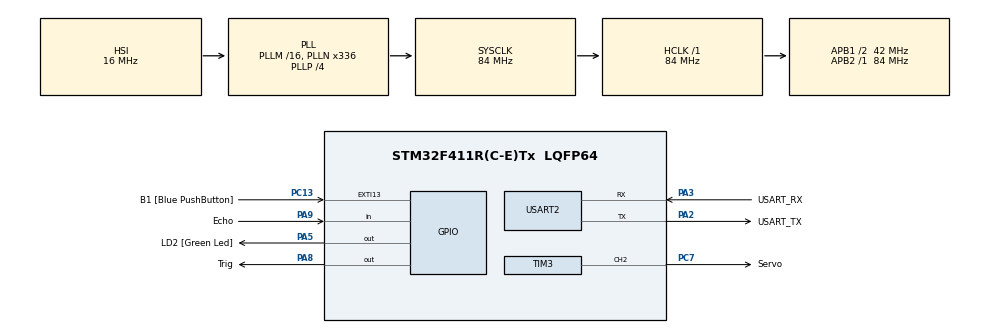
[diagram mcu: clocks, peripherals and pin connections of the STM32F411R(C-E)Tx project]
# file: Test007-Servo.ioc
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Mcu.Family=STM32F4
Mcu.Name=STM32F411R(C-E)Tx
Mcu.Package=LQFP64
NVIC.PriorityGroup=NVIC_PRIORITYGROUP_0
PA13.GPIO_Label=TMS
PA13.Mode=Serial_Wire
PA13.Signal=SYS_JTMS-SWDIO
PA14.GPIO_Label=TCK
PA14.Mode=Serial_Wire
PA14.Signal=SYS_JTCK-SWCLK
PA2.GPIO_Label=USART_TX
PA2.Mode=Asynchronous
PA2.Signal=USART2_TX
PA3.GPIO_Label=USART_RX
PA3.Mode=Asynchronous
PA3.Signal=USART2_RX
PA5.GPIO_Label=LD2 [Green Led]
PA5.Signal=GPIO_Output
PA8.GPIO_Label=Trig
PA8.Signal=GPIO_Output
PA9.GPIO_Label=Echo
PA9.Signal=GPIO_Input
PB3.GPIO_Label=SWO
PB3.Signal=SYS_JTDO-SWO
PC13-ANTI_TAMP.GPIO_Label=B1 [Blue PushButton]
PC13-ANTI_TAMP.GPIO_ModeDefaultEXTI=GPIO_MODE_IT_FALLING
PC13-ANTI_TAMP.Signal=GPXTI13
PC14-OSC32_IN.Mode=LSE-External-Oscillator
PC14-OSC32_IN.Signal=RCC_OSC32_IN
PC15-OSC32_OUT.Mode=LSE-External-Oscillator
PC15-OSC32_OUT.Signal=RCC_OSC32_OUT
PC7.GPIO_Label=Servo
PC7.Signal=S_TIM3_CH2
PH0\ -\ OSC_IN.Mode=HSE-External-Clock-Source
PH0\ -\ OSC_IN.Signal=RCC_OSC_IN
PH1\ -\ OSC_OUT.Mode=HSE-External-Clock-Source
PH1\ -\ OSC_OUT.Signal=RCC_OSC_OUT
ProjectManager.HeapSize=0x200
ProjectManager.StackSize=0x400
ProjectManager.TargetToolchain=STM32CubeIDE
RCC.48MHZClocksFreq_Value=84000000
RCC.AHBFreq_Value=84000000
RCC.APB1CLKDivider=RCC_HCLK_DIV2
RCC.APB1Freq_Value=42000000
RCC.APB1TimFreq_Value=84000000
RCC.APB2Freq_Value=84000000
RCC.APB2TimFreq_Value=84000000
RCC.CortexFreq_Value=84000000
RCC.FLatency-AdvancedSettings=FLASH_LATENCY_2
RCC.HCLKFreq_Value=84000000
RCC.HSE_VALUE=8000000
RCC.HSI_VALUE=16000000
RCC.PLLN=336
RCC.PLLP=RCC_PLLP_DIV4
RCC.SYSCLKFreq_VALUE=84000000
RCC.SYSCLKSource=RCC_SYSCLKSOURCE_PLLCLK
RCC.VCOOutputFreq_Value=336000000
SH.S_TIM3_CH2.0=TIM3_CH2,PWM Generation2 CH2
TIM2.Prescaler=84-1
TIM3.Channel-PWM\ Generation2\ CH2=TIM_CHANNEL_2
TIM3.Period=20000-1
TIM3.Prescaler=84-1
TIM3.Pulse-PWM\ Generation2\ CH2=50
USART2.VirtualMode=VM_ASYNC
VP_TIM2_VS_ClockSourceINT.Mode=Internal
VP_TIM3_VS_ClockSourceINT.Mode=Internal
board=NUCLEO-F411RE

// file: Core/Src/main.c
/* USER CODE BEGIN Header */
/**
  ******************************************************************************
  * @file           : main.c
  * @brief          : Main program body
  ******************************************************************************
  * @attention
  *
  * Copyright (c) 2025 STMicroelectronics.
  * All rights reserved.
  *
  * This software is licensed under terms that can be found in the LICENSE file
  * in the root directory of this software component.
  * If no LICENSE file comes with this software, it is provided AS-IS.
  *
  ******************************************************************************
  */
/* USER CODE END Header */
#include "main.h"

TIM_HandleTypeDef htim2;
TIM_HandleTypeDef htim3;

UART_HandleTypeDef huart2;

void SystemClock_Config(void);
static void MX_GPIO_Init(void);
static void MX_USART2_UART_Init(void);
static void MX_TIM3_Init(void);
static void MX_TIM2_Init(void);

/* USER CODE BEGIN 0 */
void microDelay(int us)	// us : micro second
{
    htim2.Instance->CNT = 0;
    //int t1 = htim2.Instance->CNT; //save the initial time
    while((htim2.Instance->CNT < us));	//while until (time now - initial time) == us
}

void Trigger ()
{
  HAL_GPIO_WritePin(Trig_GPIO_Port, Trig_Pin, 0);
  microDelay(10);
  HAL_GPIO_WritePin(Trig_GPIO_Port, Trig_Pin, 1);
  microDelay(10);
  HAL_GPIO_WritePin(Trig_GPIO_Port, Trig_Pin, 0);
}

double Distance()
{
  int t1, t2;
  htim2.Instance->CNT = 0;

  Trigger();
  //wait until Echo High
  while( HAL_GPIO_ReadPin(Echo_GPIO_Port, Echo_Pin) == 0 )
    {
	if(htim2.Instance->CNT >30000) return -1;		//Time Out
    }
  t1 = htim2.Instance->CNT;
  while( HAL_GPIO_ReadPin(Echo_GPIO_Port, Echo_Pin) == 1);
    {
	if((htim2.Instance->CNT - t1) >60000) return -1; 	//Time Out
    }
  t2 = htim2.Instance->CNT;

  return 0.34 * ((t2 - t1)/2); //unit : us
}
/* USER CODE END 0 */

int main(void)
{

  /* MCU Configuration--------------------------------------------------------*/

  /* Reset of all peripherals, Initializes the Flash interface and the Systick. */
  HAL_Init();

  /* Configure the system clock */
  SystemClock_Config();

  /* Initialize all configured peripherals */
  MX_GPIO_Init();
  MX_USART2_UART_Init();
  MX_TIM3_Init();
  MX_TIM2_Init();
  /* USER CODE BEGIN 2 */

  ProgramStart("Motor Control - Servo");
  HAL_TIM_PWM_Start(&htim3, TIM_CHANNEL_2);
  HAL_TIM_Base_Start(&htim2);

  /* USER CODE END 2 */

  /* Infinite loop */
  /* USER CODE BEGIN WHILE */
  int cval = 23, dr = 1	;
  while (1)
  {
//      cval += dr;
//      if(cval > 180 || cval < 10) dr *= -1;
      double distance = Distance();
      printf("Disatance : %f\r\n", distance);
      HAL_Delay(30);
      if(distance < 100)
	{
	  htim3.Instance->CCR2 = 2500;
	}
      else
	{
	  htim3.Instance->CCR2 = 500;
	}
      //printf("Angle : "); scanf("%d", &cval);
      //htim3.Instance->CCR2 = cval;	// 0 ~ 1000
//      if (htim3.Instance->CCR2 > 100)  htim3.Instance->CCR2 = 50;
     // printf("Angle : %d\r\n", cval);
      HAL_Delay(20);
    /* USER CODE END WHILE */

  }
}

void SystemClock_Config(void)
{
  RCC_OscInitTypeDef RCC_OscInitStruct = {0};
  RCC_ClkInitTypeDef RCC_ClkInitStruct = {0};

  /** Configure the main internal regulator output voltage
  */
  __HAL_RCC_PWR_CLK_ENABLE();
  __HAL_PWR_VOLTAGESCALING_CONFIG(PWR_REGULATOR_VOLTAGE_SCALE1);

  /** Initializes the RCC Oscillators according to the specified parameters
  * in the RCC_OscInitTypeDef structure.
  */
  RCC_OscInitStruct.OscillatorType = RCC_OSCILLATORTYPE_HSI;
  RCC_OscInitStruct.HSIState = RCC_HSI_ON;
  RCC_OscInitStruct.HSICalibrationValue = RCC_HSICALIBRATION_DEFAULT;
  RCC_OscInitStruct.PLL.PLLState = RCC_PLL_ON;
  RCC_OscInitStruct.PLL.PLLSource = RCC_PLLSOURCE_HSI;
  RCC_OscInitStruct.PLL.PLLM = 16;
  RCC_OscInitStruct.PLL.PLLN = 336;
  RCC_OscInitStruct.PLL.PLLP = RCC_PLLP_DIV4;
  RCC_OscInitStruct.PLL.PLLQ = 4;
  if (HAL_RCC_OscConfig(&RCC_OscInitStruct) != HAL_OK)
  {
    Error_Handler();
  }

  /** Initializes the CPU, AHB and APB buses clocks
  */
  RCC_ClkInitStruct.ClockType = RCC_CLOCKTYPE_HCLK|RCC_CLOCKTYPE_SYSCLK
                              |RCC_CLOCKTYPE_PCLK1|RCC_CLOCKTYPE_PCLK2;
  RCC_ClkInitStruct.SYSCLKSource = RCC_SYSCLKSOURCE_PLLCLK;
  RCC_ClkInitStruct.AHBCLKDivider = RCC_SYSCLK_DIV1;
  RCC_ClkInitStruct.APB1CLKDivider = RCC_HCLK_DIV2;
  RCC_ClkInitStruct.APB2CLKDivider = RCC_HCLK_DIV1;

  if (HAL_RCC_ClockConfig(&RCC_ClkInitStruct, FLASH_LATENCY_2) != HAL_OK)
  {
    Error_Handler();
  }
}

static void MX_TIM2_Init(void)
{

  TIM_ClockConfigTypeDef sClockSourceConfig = {0};
  TIM_MasterConfigTypeDef sMasterConfig = {0};

  htim2.Instance = TIM2;
  htim2.Init.Prescaler = 84-1;
  htim2.Init.CounterMode = TIM_COUNTERMODE_UP;
  htim2.Init.Period = 4294967295;
  htim2.Init.ClockDivision = TIM_CLOCKDIVISION_DIV1;
  htim2.Init.AutoReloadPreload = TIM_AUTORELOAD_PRELOAD_DISABLE;
  if (HAL_TIM_Base_Init(&htim2) != HAL_OK)
  {
    Error_Handler();
  }
  sClockSourceConfig.ClockSource = TIM_CLOCKSOURCE_INTERNAL;
  if (HAL_TIM_ConfigClockSource(&htim2, &sClockSourceConfig) != HAL_OK)
  {
    Error_Handler();
  }
  sMasterConfig.MasterOutputTrigger = TIM_TRGO_RESET;
  sMasterConfig.MasterSlaveMode = TIM_MASTERSLAVEMODE_DISABLE;
  if (HAL_TIMEx_MasterConfigSynchronization(&htim2, &sMasterConfig) != HAL_OK)
  {
    Error_Handler();
  }

}

static void MX_TIM3_Init(void)
{

  TIM_ClockConfigTypeDef sClockSourceConfig = {0};
  TIM_MasterConfigTypeDef sMasterConfig = {0};
  TIM_OC_InitTypeDef sConfigOC = {0};

  htim3.Instance = TIM3;
  htim3.Init.Prescaler = 84-1;
  htim3.Init.CounterMode = TIM_COUNTERMODE_UP;
  htim3.Init.Period = 20000-1;
  htim3.Init.ClockDivision = TIM_CLOCKDIVISION_DIV1;
  htim3.Init.AutoReloadPreload = TIM_AUTORELOAD_PRELOAD_DISABLE;
  if (HAL_TIM_Base_Init(&htim3) != HAL_OK)
  {
    Error_Handler();
  }
  sClockSourceConfig.ClockSource = TIM_CLOCKSOURCE_INTERNAL;
  if (HAL_TIM_ConfigClockSource(&htim3, &sClockSourceConfig) != HAL_OK)
  {
    Error_Handler();
  }
  if (HAL_TIM_PWM_Init(&htim3) != HAL_OK)
  {
    Error_Handler();
  }
  sMasterConfig.MasterOutputTrigger = TIM_TRGO_RESET;
  sMasterConfig.MasterSlaveMode = TIM_MASTERSLAVEMODE_DISABLE;
  if (HAL_TIMEx_MasterConfigSynchronization(&htim3, &sMasterConfig) != HAL_OK)
  {
    Error_Handler();
  }
  sConfigOC.OCMode = TIM_OCMODE_PWM1;
  sConfigOC.Pulse = 50;
  sConfigOC.OCPolarity = TIM_OCPOLARITY_HIGH;
  sConfigOC.OCFastMode = TIM_OCFAST_DISABLE;
  if (HAL_TIM_PWM_ConfigChannel(&htim3, &sConfigOC, TIM_CHANNEL_2) != HAL_OK)
  {
    Error_Handler();
  }
  HAL_TIM_MspPostInit(&htim3);

}

static void MX_USART2_UART_Init(void)
{

  huart2.Instance = USART2;
  huart2.Init.BaudRate = 115200;
  huart2.Init.WordLength = UART_WORDLENGTH_8B;
  huart2.Init.StopBits = UART_STOPBITS_1;
  huart2.Init.Parity = UART_PARITY_NONE;
  huart2.Init.Mode = UART_MODE_TX_RX;
  huart2.Init.HwFlowCtl = UART_HWCONTROL_NONE;
  huart2.Init.OverSampling = UART_OVERSAMPLING_16;
  if (HAL_UART_Init(&huart2) != HAL_OK)
  {
    Error_Handler();
  }

}

static void MX_GPIO_Init(void)
{
  GPIO_InitTypeDef GPIO_InitStruct = {0};

  /* GPIO Ports Clock Enable */
  __HAL_RCC_GPIOC_CLK_ENABLE();
  __HAL_RCC_GPIOH_CLK_ENABLE();
  __HAL_RCC_GPIOA_CLK_ENABLE();
  __HAL_RCC_GPIOB_CLK_ENABLE();

  /*Configure GPIO pin Output Level */
  HAL_GPIO_WritePin(GPIOA, LD2_Pin|Trig_Pin, GPIO_PIN_RESET);

  /*Configure GPIO pin : B1_Pin */
  GPIO_InitStruct.Pin = B1_Pin;
  GPIO_InitStruct.Mode = GPIO_MODE_IT_FALLING;
  GPIO_InitStruct.Pull = GPIO_NOPULL;
  HAL_GPIO_Init(B1_GPIO_Port, &GPIO_InitStruct);

  /*Configure GPIO pins : LD2_Pin Trig_Pin */
  GPIO_InitStruct.Pin = LD2_Pin|Trig_Pin;
  GPIO_InitStruct.Mode = GPIO_MODE_OUTPUT_PP;
  GPIO_InitStruct.Pull = GPIO_NOPULL;
  GPIO_InitStruct.Speed = GPIO_SPEED_FREQ_LOW;
  HAL_GPIO_Init(GPIOA, &GPIO_InitStruct);

  /*Configure GPIO pin : Echo_Pin */
  GPIO_InitStruct.Pin = Echo_Pin;
  GPIO_InitStruct.Mode = GPIO_MODE_INPUT;
  GPIO_InitStruct.Pull = GPIO_NOPULL;
  HAL_GPIO_Init(Echo_GPIO_Port, &GPIO_InitStruct);

}

void Error_Handler(void)
{
  __disable_irq();
  while (1)
  {
  }
}
